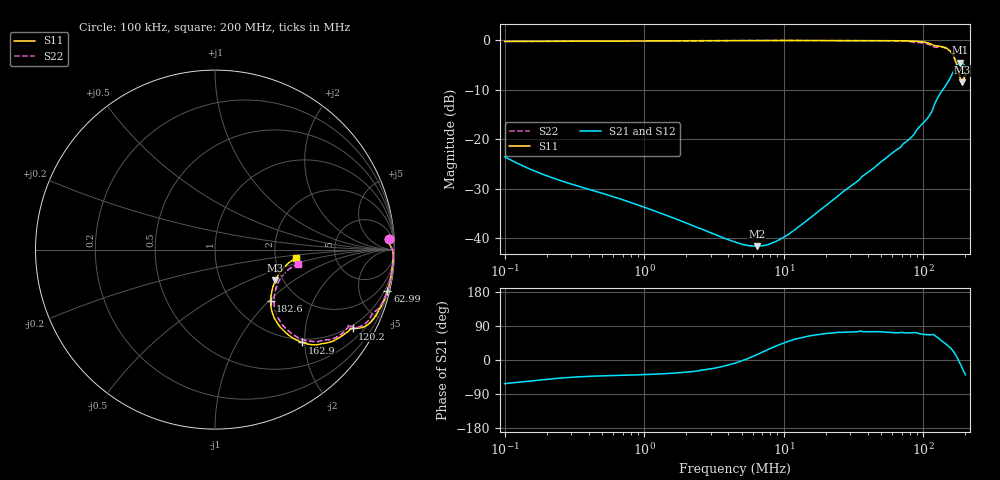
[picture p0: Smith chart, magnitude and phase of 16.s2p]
#  HZ  S  RI  R  50.00
! Rohde & Schwarz Vector Network Analyzer
! Rohde-Schwarz,ZNLE6-2Port,1323001256200024,1.71.1.10-23.02.1.238
! Created: UTC 4/7/2025, 8:01:23 AM
! freq[Hz]  re:S11  im:S11  re:S21  im:S21  re:S12  im:S12  re:S22  im:S22
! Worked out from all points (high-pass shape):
!   1001 points, 100 kHz to 200 MHz, reference 50 ohm
!   highest |S21| = -4.54 dB at 184 MHz (marker M1); lowest = -41.6 dB at 6.392 MHz (marker M2)
!   |S21| within 3 dB of the highest: 156.2 MHz to end of sweep
!   lowest |S11| = -8.5 dB at 189.6 MHz (marker M3), VSWR 2.21, Z = 91.5 - j36.3 ohm
!   |S11| at or under -10 dB: nowhere
!   |S22| runs from -8.0 to -0.1 dB; largest |S21 - S12| = 0.016
!   S11 on the Smith chart (normalised r, x): 100 kHz: 13, +27; 62.99 MHz: 0.41, -8.38; 120.2 MHz: 0.88, -3.55; 162.9 MHz: 0.93, -1.94; 182.6 MHz: 1.47, -1.02; 200 MHz: 2.63, -0.31
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100000  0.9693 0.0585  0.031 -0.0591  0.0311 -0.0592  0.9693 0.0586
182297.8  0.9727 0.035  0.0274 -0.0357  0.0275 -0.0358  0.9728 0.0352
355854.1  0.9764 0.0219  0.0237 -0.0229  0.0237 -0.0229  0.9765 0.0219
1266322  0.9855 0.0079  0.0146 -0.0111  0.0147 -0.0111  0.9854 0.00756
4472136  0.9908 -0.00978  0.00909 -0.00132  0.00905 -0.00145  0.9918 -0.00937
6392392  0.9917 -0.0178  0.00812 0.00196  0.00812 0.00189  0.9921 -0.0183
9067985  0.9923 -0.0285  0.0074 0.00599  0.00755 0.00581  0.9928 -0.0301
1.591428e7  0.9919 -0.0543  0.00716 0.015  0.00732 0.0149  0.9923 -0.0573
3.616581e7  0.9838 -0.1286  0.0105 0.0406  0.0117 0.0401  0.9833 -0.1345
5.663162e7  0.9681 -0.2071  0.0196 0.0653  0.0215 0.0643  0.9643 -0.2185
6.299027e7  0.9609 -0.232  0.0237 0.0729  0.0245 0.0725  0.9544 -0.2472
8.156587e7  0.9295 -0.3095  0.0329 0.0985  0.0365 0.0975  0.9063 -0.3322
9.495745e7  0.8967 -0.3676  0.0486 0.1278  0.0528 0.1267  0.8681 -0.3731
1.105477e8  0.8163 -0.435  0.0686 0.1603  0.0727 0.1591  0.7859 -0.4321
1.20188e8  0.7672 -0.4395  0.0937 0.2051  0.0978 0.2033  0.7441 -0.42
1.409882e8  0.6893 -0.4926  0.2319 0.2361  0.234 0.2303  0.6945 -0.4772
1.628929e8  0.4838 -0.517  0.4311 0.1956  0.4326 0.1807  0.499 -0.5044
1.717946e8  0.3802 -0.4498  0.5285 0.1047  0.5271 0.0896  0.3956 -0.441
1.82565e8  0.3095 -0.2856  0.5856 -0.083  0.5814 -0.0978  0.3282 -0.288
1.83958e8  0.3115 -0.2608  0.5825 -0.1107  0.578 -0.1253  0.3294 -0.2649
1.896369e8  0.3368 -0.1702  0.5487 -0.213  0.5435 -0.2264  0.3533 -0.181
2e8  0.4537 -0.0472  0.4177 -0.3393  0.412 -0.3497  0.4618 -0.08
